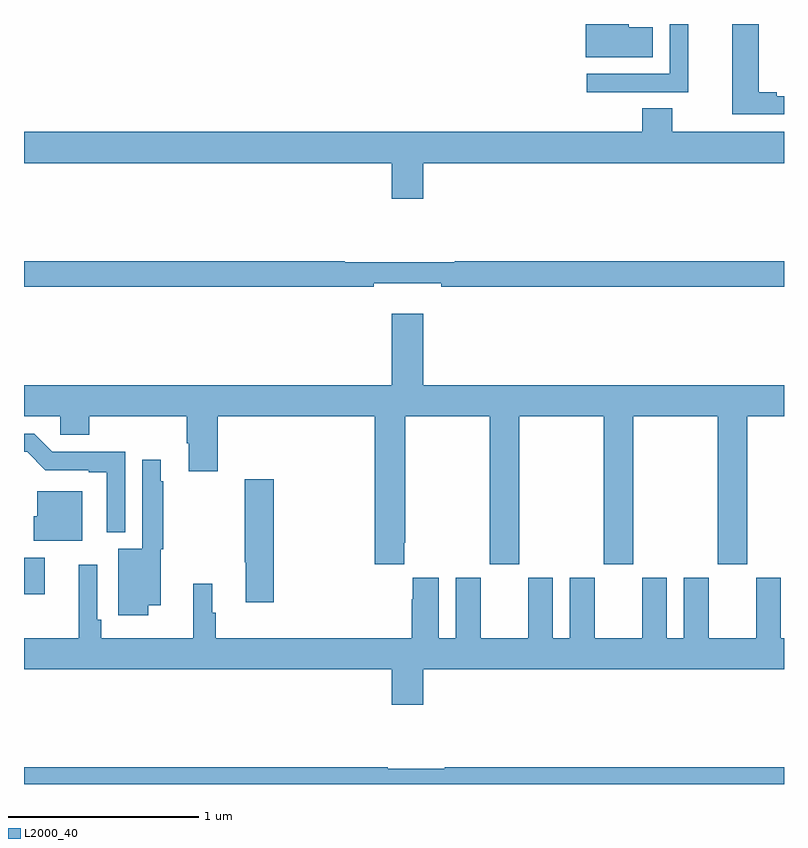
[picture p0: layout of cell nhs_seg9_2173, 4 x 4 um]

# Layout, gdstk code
import gdstk
lib = gdstk.Library(unit=1e-6, precision=1e-09)
def R(c, l, rs):  # rectangles x0, y0, x1, y1
    for r in rs: c.add(gdstk.rectangle(r[:2], r[2:], *l))
def P(c, l, *ps):  # polygons
    for p in ps: c.add(gdstk.Polygon(p, *l))
L2000_40 = (2000, 40)

nhs_seg9_2173 = lib.new_cell('nhs_seg9_2173')
R(nhs_seg9_2173, L2000_40, [(235,1179.498,235.109,1179.69)])
P(nhs_seg9_2173, L2000_40, [(238.497,1182.5),(238.398,1182.5),(238.398,1182.237),(237.963,1182.237),(237.963,1182.141),(238.497,1182.141)],
  [(238.309,1182.484),(238.183,1182.484),(238.183,1182.5),(237.956,1182.5),(237.956,1182.326),(238.309,1182.326)],
  [(239,1182.12),(238.963,1182.12),(238.963,1182.14),(238.867,1182.14),(238.867,1182.5),(238.727,1182.5),(238.727,1182.024),(239,1182.024)],
  [(237.1,1181.768),(239,1181.768),(239,1181.932),(238.413,1181.932),(238.413,1182.056),(238.253,1182.056),(238.253,1181.932),(235,1181.932),(235,1181.768),(236.936,1181.768),(236.936,1181.58),(237.1,1181.58)],
  [(236.84,1181.135),(237.196,1181.135),(237.196,1181.116),(239,1181.116),(239,1181.252),(237.267,1181.252),(237.267,1181.245),(236.687,1181.245),(236.687,1181.252),(235,1181.252),(235,1181.116),(236.84,1181.116)],
  [(237.001,1179.769),(237.006,1179.769),(237.006,1180.436),(237.451,1180.436),(237.451,1179.657),(237.606,1179.657),(237.606,1180.436),(238.051,1180.436),(238.051,1179.657),(238.206,1179.657),(238.206,1180.436),(238.651,1180.436),(238.651,1179.657),(238.806,1179.657),(238.806,1180.436),(239,1180.436),(239,1180.6),(237.1,1180.6),(237.1,1180.975),(236.936,1180.975),(236.936,1180.6),(235,1180.6),(235,1180.436),(235.191,1180.436),(235.191,1180.338),(235.343,1180.338),(235.343,1180.436),(235.856,1180.436),(235.856,1180.294),(235.868,1180.294),(235.868,1180.146),(236.021,1180.146),(236.021,1180.436),(236.846,1180.436),(236.846,1179.657),(237.001,1179.657)],
  [(235.533,1180.248),(235.149,1180.248),(235.053,1180.344),(235,1180.344),(235,1180.248),(235.017,1180.248),(235.113,1180.152),(235.34,1180.152),(235.34,1180.14),(235.436,1180.14),(235.436,1179.824),(235.533,1179.824)],
  [(235.654,1179.44),(235.72,1179.44),(235.72,1179.735),(235.732,1179.735),(235.732,1180.094),(235.72,1180.094),(235.72,1180.207),(235.623,1180.207),(235.623,1179.739),(235.496,1179.739),(235.496,1179.387),(235.654,1179.387)],
  [(236.315,1180.105),(236.161,1180.105),(236.161,1179.668),(236.168,1179.668),(236.168,1179.456),(236.315,1179.456)],
  [(235.306,1180.042),(235.07,1180.042),(235.07,1179.909),(235.052,1179.909),(235.052,1179.779),(235.306,1179.779)],
  [(239,1179.268),(238.984,1179.268),(238.984,1179.586),(238.853,1179.586),(238.853,1179.268),(238.603,1179.268),(238.603,1179.586),(238.472,1179.586),(238.472,1179.268),(238.384,1179.268),(238.384,1179.586),(238.253,1179.586),(238.253,1179.268),(238.003,1179.268),(238.003,1179.586),(237.872,1179.586),(237.872,1179.268),(237.784,1179.268),(237.784,1179.586),(237.653,1179.586),(237.653,1179.268),(237.403,1179.268),(237.403,1179.586),(237.272,1179.586),(237.272,1179.268),(237.184,1179.268),(237.184,1179.586),(237.047,1179.586),(237.047,1179.473),(237.041,1179.473),(237.041,1179.268),(236.009,1179.268),(236.009,1179.402),(235.99,1179.402),(235.99,1179.553),(235.891,1179.553),(235.891,1179.268),(235.406,1179.268),(235.406,1179.364),(235.386,1179.364),(235.386,1179.655),(235.289,1179.655),(235.289,1179.268),(235,1179.268),(235,1179.104),(236.936,1179.104),(236.936,1178.916),(237.1,1178.916),(237.1,1179.104),(239,1179.104)],
  [(239,1178.588),(237.214,1178.588),(237.214,1178.581),(236.914,1178.581),(236.914,1178.588),(235,1178.588),(235,1178.5),(239,1178.5)])

lib.write_gds('nhs_seg9_2173.gds')
